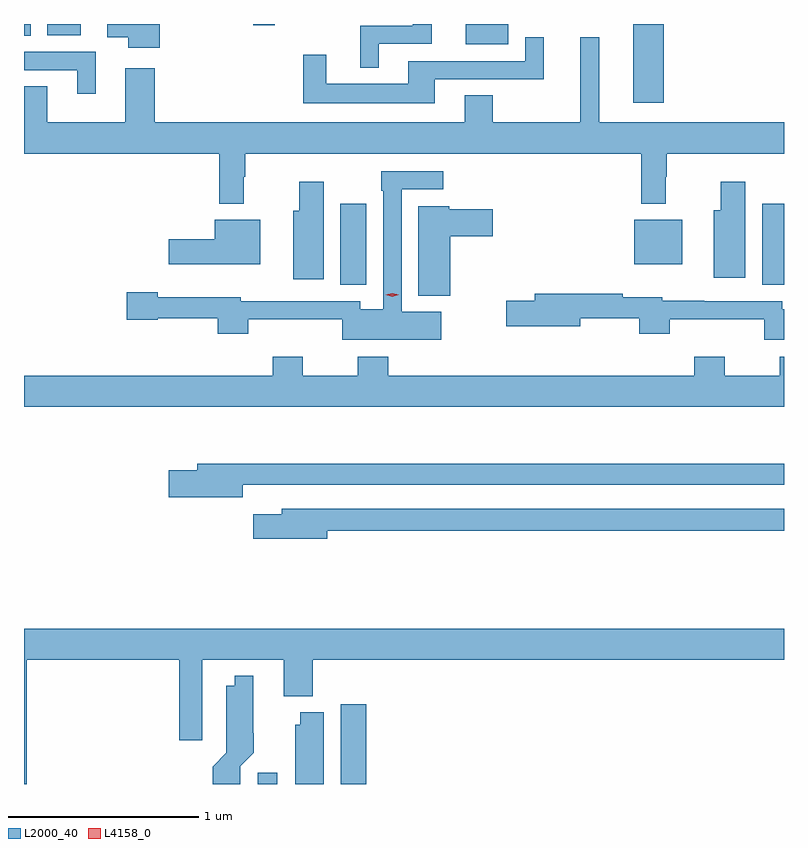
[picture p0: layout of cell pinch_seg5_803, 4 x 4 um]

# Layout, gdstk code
import gdstk
lib = gdstk.Library(unit=1e-6, precision=1e-09)
def R(c, l, rs):  # rectangles x0, y0, x1, y1
    for r in rs: c.add(gdstk.rectangle(r[:2], r[2:], *l))
def P(c, l, *ps):  # polygons
    for p in ps: c.add(gdstk.Polygon(p, *l))
L2000_40 = (2000, 40)
L4158_0 = (4158, 0)

pinch_seg5_803 = lib.new_cell('pinch_seg5_803')
R(pinch_seg5_803, L2000_40, [(779.189,902.726,779.293,902.785), (779.627,902.726,779.759,903.145), (779.624,905.353,779.761,905.779), (781.844,905.353,781.959,905.779), (781.172,905.462,781.423,905.695), (781.166,906.312,781.325,906.726), (780.284,906.62,780.508,906.726), (777.959,906.664,777.994,906.726), (778.082,906.668,778.258,906.726), (779.166,906.719,779.278,906.726)])
P(pinch_seg5_803, L2000_40, [(778.674,906.724),(778.666,906.724),(778.666,906.726),(778.397,906.726),(778.397,906.656),(778.508,906.656),(778.508,906.602),(778.674,906.602)],
  [(779.827,906.621),(780.104,906.621),(780.104,906.726),(780.006,906.726),(780.006,906.717),(779.729,906.717),(779.729,906.497),(779.827,906.497)],
  [(780.121,906.435),(780.695,906.435),(780.695,906.655),(780.597,906.655),(780.597,906.531),(779.981,906.531),(779.981,906.412),(779.551,906.412),(779.551,906.565),(779.43,906.565),(779.43,906.308),(780.121,906.308)],
  [(779.116,905.921),(779.123,905.921),(779.123,906.044),(781.207,906.044),(781.207,905.781),(781.336,905.781),(781.336,905.921),(781.343,905.921),(781.343,906.044),(781.959,906.044),(781.959,906.208),(780.986,906.208),(780.986,906.655),(780.887,906.655),(780.887,906.208),(780.426,906.208),(780.426,906.35),(780.278,906.35),(780.278,906.208),(778.646,906.208),(778.646,906.493),(778.493,906.493),(778.493,906.208),(778.081,906.208),(778.081,906.398),(777.959,906.398),(777.959,906.044),(778.987,906.044),(778.987,905.781),(779.116,905.781)],
  [(778.336,906.579),(777.959,906.579),(777.959,906.483),(778.238,906.483),(778.238,906.36),(778.336,906.36)],
  [(780.154,905.212),(779.946,905.212),(779.946,905.856),(780.166,905.856),(780.166,905.952),(779.838,905.952),(779.838,905.849),(779.85,905.849),(779.85,905.224),(779.73,905.224),(779.73,905.268),(779.1,905.268),(779.1,905.287),(778.662,905.287),(778.662,905.314),(778.5,905.314),(778.5,905.17),(778.662,905.17),(778.662,905.178),(778.978,905.178),(778.978,905.096),(779.138,905.096),(779.138,905.171),(779.634,905.171),(779.634,905.063),(780.154,905.063)],
  [(779.536,905.896),(779.407,905.896),(779.407,905.743),(779.375,905.743),(779.375,905.382),(779.536,905.382)],
  [(781.756,905.896),(781.627,905.896),(781.627,905.746),(781.589,905.746),(781.589,905.39),(781.756,905.39)],
  [(780.202,905.609),(780.427,905.609),(780.427,905.751),(780.198,905.751),(780.198,905.767),(780.035,905.767),(780.035,905.297),(780.202,905.297)],
  [(779.203,905.695),(778.964,905.695),(778.964,905.592),(778.722,905.592),(778.722,905.462),(779.203,905.462)],
  [(781.959,905.224),(781.95,905.224),(781.95,905.268),(781.538,905.268),(781.538,905.27),(781.317,905.27),(781.317,905.287),(781.109,905.287),(781.109,905.306),(780.647,905.306),(780.647,905.27),(780.498,905.27),(780.498,905.135),(780.886,905.135),(780.886,905.178),(781.198,905.178),(781.198,905.096),(781.358,905.096),(781.358,905.171),(781.854,905.171),(781.854,905.063),(781.959,905.063)],
  [(781.959,904.975),(781.936,904.975),(781.936,904.876),(781.647,904.876),(781.647,904.975),(781.487,904.975),(781.487,904.876),(779.876,904.876),(779.876,904.975),(779.716,904.975),(779.716,904.876),(779.427,904.876),(779.427,904.975),(779.267,904.975),(779.267,904.876),(777.959,904.876),(777.959,904.712),(781.959,904.712)],
  [(779.11,904.302),(781.959,904.302),(781.959,904.411),(778.871,904.411),(778.871,904.377),(778.722,904.377),(778.722,904.235),(779.11,904.235)],
  [(779.554,904.06),(781.959,904.06),(781.959,904.176),(779.315,904.176),(779.315,904.147),(779.166,904.147),(779.166,904.018),(779.554,904.018)],
  [(777.959,902.726),(777.974,902.726),(777.974,903.38),(778.775,903.38),(778.775,902.955),(778.897,902.955),(778.897,903.38),(779.327,903.38),(779.327,903.188),(779.48,903.188),(779.48,903.38),(781.959,903.38),(781.959,903.544),(777.959,903.544)],
  [(779.097,902.82),(779.167,902.89),(779.167,902.992),(779.166,902.992),(779.166,903.295),(779.069,903.295),(779.069,903.244),(779.024,903.244),(779.024,902.89),(778.952,902.818),(778.952,902.726),(779.097,902.726)],
  [(779.536,903.103),(779.414,903.103),(779.414,903.039),(779.387,903.039),(779.387,902.726),(779.536,902.726)])
P(pinch_seg5_803, L4158_0, [(779.897,905.29),(779.862,905.3),(779.862,905.3),(779.862,905.3),(779.897,905.31),(779.932,905.3),(779.932,905.3),(779.932,905.3)])

lib.write_gds('pinch_seg5_803.gds')
